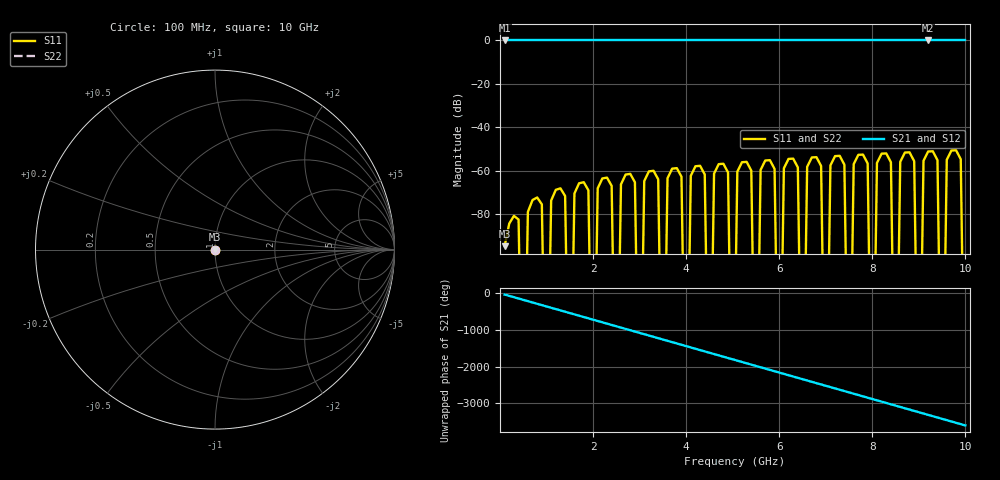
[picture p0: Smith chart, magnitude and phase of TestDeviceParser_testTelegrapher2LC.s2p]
# MHz MA S R 50.0
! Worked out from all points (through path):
!   100 points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, 100 MHz to 10 GHz, reference 50 ohm
!   highest |S21| = 0.00 dB at 100 MHz (marker M1); lowest = 0.0 dB at 9.2 GHz (marker M2)
!   lowest |S11| = -94.9 dB at 100 MHz (marker M3), VSWR 1.00, Z = 50 + j0.00106 ohm
!   |S11| at or under -10 dB: start of sweep to end of sweep
!   |S22| runs from - to -50.7 dB; largest |S21 - S12| = 0
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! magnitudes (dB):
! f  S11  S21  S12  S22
! 100 MHz  -94.9  0.0  0.0  -94.9
! 1.8 GHz  -65.4  0.0  0.0  -65.4
! 3.4 GHz  -64.0  0.0  0.0  -64.0
! 5.1 GHz  -60.5  0.0  0.0  -60.5
! 5.8 GHz  -55.2  0.0  0.0  -55.2
! 6 GHz  -  0.0  0.0  -
! 6.3 GHz  -54.5  0.0  0.0  -54.5
! 6.5 GHz  -  0.0  0.0  -
! 6.7 GHz  -54.0  0.0  0.0  -54.0
! 7 GHz  -  0.0  0.0  -
! 7.2 GHz  -53.3  0.0  0.0  -53.3
! 7.5 GHz  -  0.0  0.0  -
! 7.7 GHz  -52.8  0.0  0.0  -52.8
! 8 GHz  -  0.0  0.0  -
! 8.4 GHz  -56.2  0.0  0.0  -56.2
! 8.5 GHz  -  0.0  0.0  -
! 8.8 GHz  -51.6  0.0  0.0  -51.6
! 9 GHz  -  0.0  0.0  -
! 9.2 GHz  -51.2  0.0  0.0  -51.2
! 9.5 GHz  -  0.0  0.0  -
! 9.8 GHz  -50.7  0.0  0.0  -50.7
! 10 GHz  -  0.0  0.0  -
